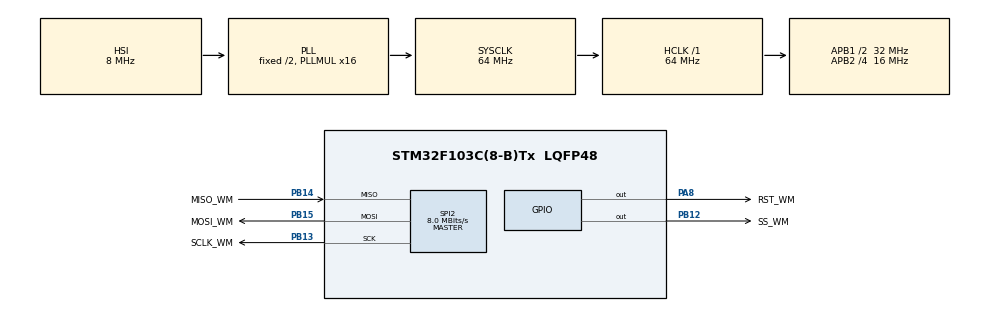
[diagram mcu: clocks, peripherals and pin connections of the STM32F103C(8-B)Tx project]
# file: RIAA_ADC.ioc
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Mcu.Family=STM32F1
Mcu.Name=STM32F103C(8-B)Tx
Mcu.Package=LQFP48
NVIC.PriorityGroup=NVIC_PRIORITYGROUP_4
PA13.Mode=Trace_Asynchronous_SW
PA13.Signal=SYS_JTMS-SWDIO
PA14.Mode=Trace_Asynchronous_SW
PA14.Signal=SYS_JTCK-SWCLK
PA8.GPIO_Label=RST_WM
PA8.Signal=GPIO_Output
PB12.GPIO_Label=SS_WM
PB12.Signal=GPIO_Output
PB13.GPIO_Label=SCLK_WM
PB13.Mode=Full_Duplex_Master
PB13.Signal=SPI2_SCK
PB14.GPIO_Label=MISO_WM
PB14.Mode=Full_Duplex_Master
PB14.Signal=SPI2_MISO
PB15.GPIO_Label=MOSI_WM
PB15.Mode=Full_Duplex_Master
PB15.Signal=SPI2_MOSI
PB3.Mode=Trace_Asynchronous_SW
PB3.Signal=SYS_JTDO-TRACESWO
PD0-OSC_IN.Mode=HSE-External-Oscillator
PD0-OSC_IN.Signal=RCC_OSC_IN
PD1-OSC_OUT.Mode=HSE-External-Oscillator
PD1-OSC_OUT.Signal=RCC_OSC_OUT
ProjectManager.HeapSize=0x200
ProjectManager.StackSize=0x400
ProjectManager.TargetToolchain=STM32CubeIDE
RCC.AHBFreq_Value=64000000
RCC.APB1CLKDivider=RCC_HCLK_DIV2
RCC.APB1Freq_Value=32000000
RCC.APB1TimFreq_Value=64000000
RCC.APB2CLKDivider=RCC_HCLK_DIV4
RCC.APB2Freq_Value=16000000
RCC.APB2TimFreq_Value=32000000
RCC.HCLKFreq_Value=64000000
RCC.HSEDivPLL=RCC_HSE_PREDIV_DIV2
RCC.HSE_VALUE=16000000
RCC.PLLMUL=RCC_PLL_MUL16
RCC.SYSCLKFreq_VALUE=64000000
RCC.SYSCLKSource=RCC_SYSCLKSOURCE_PLLCLK
RCC.USBFreq_Value=42666666.666666664
RCC.USBPrescaler=RCC_USBCLKSOURCE_PLL_DIV1_5
SPI2.BaudRatePrescaler=SPI_BAUDRATEPRESCALER_4
SPI2.CLKPhase=SPI_PHASE_2EDGE
SPI2.CLKPolarity=SPI_POLARITY_LOW
SPI2.CalculateBaudRate=8.0 MBits/s
SPI2.DataSize=SPI_DATASIZE_8BIT
SPI2.Direction=SPI_DIRECTION_2LINES
SPI2.Mode=SPI_MODE_MASTER
SPI2.VirtualType=VM_MASTER
board=custom

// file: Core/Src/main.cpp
/* USER CODE BEGIN Header */
/**
  ******************************************************************************
  * @file           : main.c
  * @brief          : Main program body
  ******************************************************************************
  * @attention
  *
  * Copyright (c) 2022 STMicroelectronics.
  * All rights reserved.
  *
  * This software is licensed under terms that can be found in the LICENSE file
  * in the root directory of this software component.
  * If no LICENSE file comes with this software, it is provided AS-IS.
  *
  ******************************************************************************
  */
/* USER CODE END Header */
#include "main.h"

/* USER CODE BEGIN Includes */
#include "stdio.h"
#include "WM8804.h"

/* USER CODE END Includes */

SPI_HandleTypeDef hspi2;

void SystemClock_Config(void);
static void MX_GPIO_Init(void);
static void MX_SPI2_Init(void);

/* USER CODE BEGIN 0 */

uint8_t testTX[2]; //debug
uint8_t testRX[2];	//debug
uint8_t test,test1 ;

/* USER CODE END 0 */

int main(void)
{

  /* MCU Configuration--------------------------------------------------------*/

  /* Reset of all peripherals, Initializes the Flash interface and the Systick. */
  HAL_Init();

  /* USER CODE BEGIN Init */

  //WM8804(SPI_HandleTypeDef* SPI,GPIO_TypeDef* CS_port,uint16_t CS_pin,GPIO_TypeDef* RES_port,uint16_t RES_pin);

  test = 0;
  test1 = 0;

  WM8804 WM8804(&hspi2,SS_WM_GPIO_Port,SS_WM_Pin,RST_WM_GPIO_Port,RST_WM_Pin);

  /* USER CODE END Init */

  /* Configure the system clock */
  SystemClock_Config();

  /* Initialize all configured peripherals */
  MX_GPIO_Init();
  MX_SPI2_Init();
  /* USER CODE BEGIN 2 */

  /* Private defines -----------------------------------------------------------*/

  WM8804.init();
  WM8804.enableOSC(true);
  WM8804.enablePLL(true);
  WM8804.enableSpdifRX(false);
  WM8804.enableSpdifTX(true);
  WM8804.enableAIF(true);
  WM8804.setSpidfTX_src(AIF_src);
  WM8804.enableMCLKDIV(false);		//256fs
  WM8804.setFreqMode(0x01);			//Master clock set to 24.576MHz
  WM8804.setPLL(0x0C49BA,0x08);		//Master clock set to 24.576MHz
  WM8804.setAIFsize(0x02);			// AIF 24Bits size
  WM8804.AIF_MasterMode(true);

  /* USER CODE END 2 */

  /* Infinite loop */
  /* USER CODE BEGIN WHILE */
  while (1)
  {

	  //test ++;

    /* USER CODE END WHILE */

  }
}

void SystemClock_Config(void)
{
  RCC_OscInitTypeDef RCC_OscInitStruct = {0};
  RCC_ClkInitTypeDef RCC_ClkInitStruct = {0};

  /** Initializes the RCC Oscillators according to the specified parameters
  * in the RCC_OscInitTypeDef structure.
  */
  RCC_OscInitStruct.OscillatorType = RCC_OSCILLATORTYPE_HSI;
  RCC_OscInitStruct.HSIState = RCC_HSI_ON;
  RCC_OscInitStruct.HSICalibrationValue = RCC_HSICALIBRATION_DEFAULT;
  RCC_OscInitStruct.PLL.PLLState = RCC_PLL_ON;
  RCC_OscInitStruct.PLL.PLLSource = RCC_PLLSOURCE_HSI_DIV2;
  RCC_OscInitStruct.PLL.PLLMUL = RCC_PLL_MUL16;
  if (HAL_RCC_OscConfig(&RCC_OscInitStruct) != HAL_OK)
  {
    Error_Handler();
  }
  /** Initializes the CPU, AHB and APB buses clocks
  */
  RCC_ClkInitStruct.ClockType = RCC_CLOCKTYPE_HCLK|RCC_CLOCKTYPE_SYSCLK
                              |RCC_CLOCKTYPE_PCLK1|RCC_CLOCKTYPE_PCLK2;
  RCC_ClkInitStruct.SYSCLKSource = RCC_SYSCLKSOURCE_PLLCLK;
  RCC_ClkInitStruct.AHBCLKDivider = RCC_SYSCLK_DIV1;
  RCC_ClkInitStruct.APB1CLKDivider = RCC_HCLK_DIV2;
  RCC_ClkInitStruct.APB2CLKDivider = RCC_HCLK_DIV4;

  if (HAL_RCC_ClockConfig(&RCC_ClkInitStruct, FLASH_LATENCY_2) != HAL_OK)
  {
    Error_Handler();
  }
}

static void MX_SPI2_Init(void)
{

  /* SPI2 parameter configuration*/
  hspi2.Instance = SPI2;
  hspi2.Init.Mode = SPI_MODE_MASTER;
  hspi2.Init.Direction = SPI_DIRECTION_2LINES;
  hspi2.Init.DataSize = SPI_DATASIZE_8BIT;
  hspi2.Init.CLKPolarity = SPI_POLARITY_LOW;
  hspi2.Init.CLKPhase = SPI_PHASE_2EDGE;
  hspi2.Init.NSS = SPI_NSS_SOFT;
  hspi2.Init.BaudRatePrescaler = SPI_BAUDRATEPRESCALER_4;
  hspi2.Init.FirstBit = SPI_FIRSTBIT_MSB;
  hspi2.Init.TIMode = SPI_TIMODE_DISABLE;
  hspi2.Init.CRCCalculation = SPI_CRCCALCULATION_DISABLE;
  hspi2.Init.CRCPolynomial = 10;
  if (HAL_SPI_Init(&hspi2) != HAL_OK)
  {
    Error_Handler();
  }

}

static void MX_GPIO_Init(void)
{
  GPIO_InitTypeDef GPIO_InitStruct = {0};

  /* GPIO Ports Clock Enable */
  __HAL_RCC_GPIOD_CLK_ENABLE();
  __HAL_RCC_GPIOB_CLK_ENABLE();
  __HAL_RCC_GPIOA_CLK_ENABLE();

  /*Configure GPIO pin Output Level */
  HAL_GPIO_WritePin(SS_WM_GPIO_Port, SS_WM_Pin, GPIO_PIN_RESET);

  /*Configure GPIO pin Output Level */
  HAL_GPIO_WritePin(RST_WM_GPIO_Port, RST_WM_Pin, GPIO_PIN_RESET);

  /*Configure GPIO pin : SS_WM_Pin */
  GPIO_InitStruct.Pin = SS_WM_Pin;
  GPIO_InitStruct.Mode = GPIO_MODE_OUTPUT_PP;
  GPIO_InitStruct.Pull = GPIO_NOPULL;
  GPIO_InitStruct.Speed = GPIO_SPEED_FREQ_LOW;
  HAL_GPIO_Init(SS_WM_GPIO_Port, &GPIO_InitStruct);

  /*Configure GPIO pin : RST_WM_Pin */
  GPIO_InitStruct.Pin = RST_WM_Pin;
  GPIO_InitStruct.Mode = GPIO_MODE_OUTPUT_PP;
  GPIO_InitStruct.Pull = GPIO_NOPULL;
  GPIO_InitStruct.Speed = GPIO_SPEED_FREQ_LOW;
  HAL_GPIO_Init(RST_WM_GPIO_Port, &GPIO_InitStruct);

}

void Error_Handler(void)
{
  __disable_irq();
  while (1)
  {
  }
}
